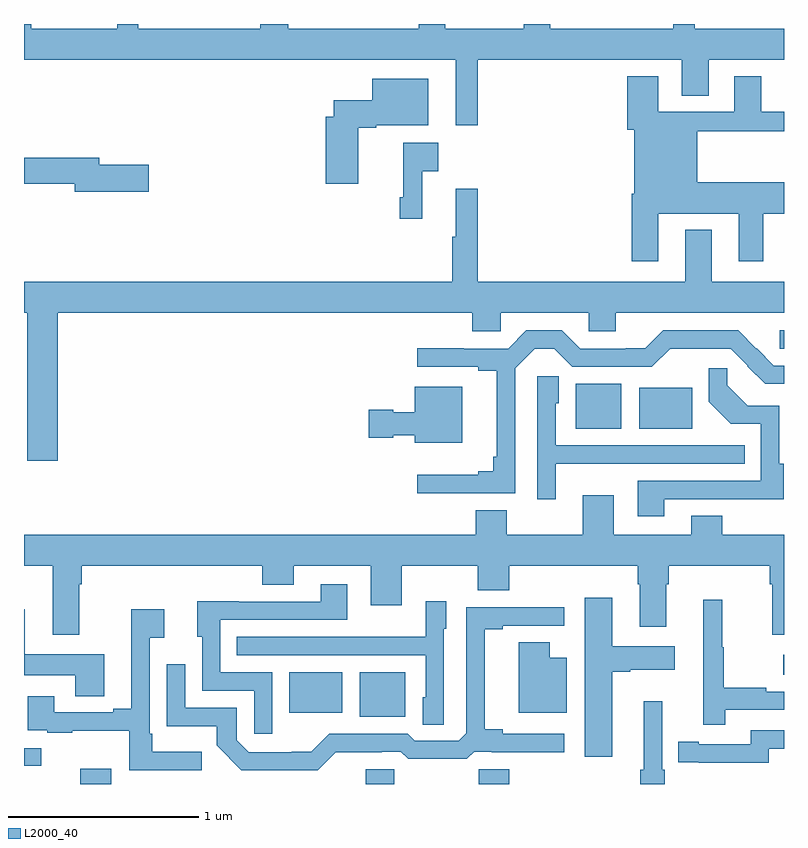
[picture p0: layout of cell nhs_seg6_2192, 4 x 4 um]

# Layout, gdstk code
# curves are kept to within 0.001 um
import gdstk
lib = gdstk.Library(unit=1e-6, precision=1e-09)
def R(c, l, rs):  # rectangles x0, y0, x1, y1
    for r in rs: c.add(gdstk.rectangle(r[:2], r[2:], *l))
def P(c, l, *ps):  # polygons
    for p in ps: c.add(gdstk.Polygon(p, *l))
L2000_40 = (2000, 40)

nhs_seg6_2192 = lib.new_cell('nhs_seg6_2192')
R(nhs_seg6_2192, L2000_40, [(241.295,967.5,241.459,967.579), (242.798,967.5,242.949,967.578), (243.394,967.5,243.554,967.578), (241,967.595,241.09,967.689), (242.768,967.853,243.007,968.089), (242.396,967.874,242.674,968.089), (244.995,968.075,245,968.179), (243.905,969.371,244.144,969.607), (244.238,969.371,244.516,969.586), (244.977,969.792,245,969.888)])
P(nhs_seg6_2192, L2000_40, [(244.417,971.5),(244.417,971.476),(243.769,971.476),(243.769,971.5),(243.629,971.5),(243.629,971.476),(243.217,971.476),(243.217,971.5),(243.077,971.5),(243.077,971.476),(242.391,971.476),(242.391,971.5),(242.243,971.5),(242.243,971.476),(241.6,971.476),(241.6,971.5),(241.49,971.5),(241.49,971.476),(241.037,971.476),(241.037,971.5),(241,971.5),(241,971.312),(243.272,971.312),(243.272,970.968),(243.389,970.968),(243.389,971.312),(244.463,971.312),(244.463,971.122),(244.603,971.122),(244.603,971.312),(245,971.312),(245,971.476),(244.531,971.476),(244.531,971.5)],
  [(244.339,970.502),(244.763,970.502),(244.763,970.251),(244.891,970.251),(244.891,970.502),(245,970.502),(245,970.666),(244.543,970.666),(244.543,970.936),(245,970.936),(245,971.037),(244.879,971.037),(244.879,971.224),(244.739,971.224),(244.739,971.037),(244.339,971.037),(244.339,971.224),(244.175,971.224),(244.175,970.944),(244.211,970.944),(244.211,970.606),(244.199,970.606),(244.199,970.251),(244.339,970.251)],
  [(242.758,970.955),(242.854,970.955),(242.854,970.967),(243.127,970.967),(243.127,971.212),(242.834,971.212),(242.834,971.098),(242.63,971.098),(242.63,971.011),(242.588,971.011),(242.588,970.659),(242.758,970.659)],
  [(243.095,970.724),(243.181,970.724),(243.181,970.876),(242.995,970.876),(242.995,970.588),(242.977,970.588),(242.977,970.476),(243.095,970.476)],
  [(241.657,970.76),(241.396,970.76),(241.396,970.796),(241,970.796),(241,970.66),(241.268,970.66),(241.268,970.618),(241.657,970.618)],
  [(241.178,969.98),(243.359,969.98),(243.359,969.882),(243.51,969.882),(243.51,969.98),(243.972,969.98),(243.972,969.882),(244.114,969.882),(244.114,969.98),(245,969.98),(245,970.144),(244.621,970.144),(244.621,970.417),(244.481,970.417),(244.481,970.144),(243.389,970.144),(243.389,970.633),(243.272,970.633),(243.272,970.38),(243.253,970.38),(243.253,970.144),(241,970.144),(241,969.98),(241.018,969.98),(241.018,969.201),(241.178,969.201)],
  [(243.281,969.03),(243.585,969.03),(243.585,969.687),(243.689,969.791),(243.79,969.791),(243.885,969.696),(244.305,969.696),(244.4,969.791),(244.719,969.792),(244.809,969.702),(244.807,969.7),(244.901,969.606),(245,969.606),(245,969.702),(244.947,969.702),(244.759,969.888),(244.365,969.888),(244.271,969.794),(244.166,969.794),(244.166,969.792),(243.927,969.792),(243.831,969.888),(243.644,969.888),(243.548,969.792),(243.315,969.792),(243.315,969.794),(243.069,969.794),(243.069,969.696),(243.392,969.696),(243.392,969.676),(243.488,969.676),(243.488,969.223),(243.469,969.223),(243.469,969.146),(243.392,969.146),(243.392,969.127),(243.069,969.127),(243.069,969.029)],
  [(244.369,969),(244.999,968.999),(244.999,969.186),(244.974,969.186),(244.974,969.492),(244.808,969.492),(244.7,969.6),(244.7,969.688),(244.605,969.688),(244.605,969.512),(244.721,969.396),(244.878,969.396),(244.878,969.096),(244.229,969.096),(244.229,968.91),(244.369,968.91)],
  [(243.799,969.185),(244.133,969.185),(244.133,969.186),(244.793,969.186),(244.793,969.282),(243.798,969.282),(243.798,969.504),(243.814,969.504),(243.814,969.647),(243.702,969.647),(243.702,969),(243.799,969)],
  [(243.307,969.592),(243.056,969.592),(243.056,969.457),(242.943,969.457),(242.943,969.47),(242.814,969.47),(242.814,969.323),(242.943,969.323),(242.943,969.335),(243.056,969.335),(243.056,969.296),(243.307,969.296)],
  [(241,968.648),(241.151,968.648),(241.151,968.286),(241.291,968.286),(241.291,968.552),(241.304,968.552),(241.304,968.648),(242.255,968.648),(242.255,968.549),(242.419,968.549),(242.419,968.648),(242.825,968.648),(242.825,968.442),(242.989,968.442),(242.989,968.648),(243.389,968.648),(243.389,968.52),(243.553,968.52),(243.553,968.648),(244.229,968.648),(244.229,968.552),(244.241,968.552),(244.241,968.328),(244.381,968.328),(244.381,968.552),(244.394,968.552),(244.394,968.648),(244.925,968.648),(244.925,968.552),(244.937,968.552),(244.937,968.286),(245,968.286),(245,968.812),(244.675,968.812),(244.675,968.911),(244.511,968.911),(244.511,968.812),(244.105,968.812),(244.105,969.019),(243.941,969.019),(243.941,968.812),(243.541,968.812),(243.541,968.941),(243.377,968.941),(243.377,968.812),(241,968.812)],
  [(242.307,968.088),(242.034,968.088),(242.034,968.364),(242.701,968.364),(242.701,968.551),(242.561,968.551),(242.561,968.46),(242.131,968.46),(242.131,968.462),(241.913,968.462),(241.913,968.274),(241.938,968.274),(241.938,967.992),(242.211,967.992),(242.211,967.764),(242.307,967.764)],
  [(244.096,968.09),(244.192,968.09),(244.192,968.102),(244.426,968.102),(244.426,968.224),(244.096,968.224),(244.096,968.479),(243.95,968.479),(243.95,967.644),(244.096,967.644)],
  [(244.691,967.89),(245,967.89),(245,967.986),(244.907,967.986),(244.907,968.006),(244.684,968.006),(244.684,968.22),(244.676,968.22),(244.676,968.47),(244.574,968.47),(244.574,967.812),(244.691,967.812)],
  [(243.21,968.316),(243.223,968.316),(243.223,968.461),(243.114,968.461),(243.114,968.275),(242.797,968.275),(242.797,968.274),(242.119,968.274),(242.119,968.178),(243.114,968.178),(243.114,967.956),(243.098,967.956),(243.098,967.813),(243.21,967.813)],
  [(242.642,967.667),(242.882,967.667),(242.882,967.671),(242.982,967.671),(243.022,967.632),(243.329,967.632),(243.369,967.671),(243.463,967.671),(243.463,967.667),(243.844,967.667),(243.844,967.764),(243.52,967.764),(243.52,967.787),(243.425,967.787),(243.425,968.314),(243.52,968.314),(243.52,968.334),(243.844,968.334),(243.844,968.43),(243.327,968.43),(243.327,967.767),(243.288,967.728),(243.057,967.728),(243.021,967.764),(242.607,967.764),(242.513,967.67),(242.408,967.67),(242.408,967.668),(242.184,967.668),(242.121,967.731),(242.121,967.902),(241.848,967.902),(241.848,968.131),(241.752,968.131),(241.752,967.805),(242.014,967.805),(242.014,967.703),(242.144,967.572),(242.547,967.572)],
  [(241.936,967.669),(241.675,967.669),(241.675,967.765),(241.662,967.765),(241.662,968.27),(241.738,968.27),(241.738,968.419),(241.565,968.419),(241.565,967.897),(241.469,967.897),(241.469,967.878),(241.159,967.878),(241.159,967.963),(241.019,967.963),(241.019,967.782),(241.123,967.782),(241.123,967.77),(241.255,967.77),(241.255,967.781),(241.554,967.781),(241.554,967.572),(241.936,967.572)],
  [(241.423,968.182),(241.003,968.182),(241.003,968.419),(241,968.419),(241,968.072),(241.271,968.072),(241.271,967.963),(241.423,967.963)],
  [(243.856,968.164),(243.766,968.164),(243.766,968.245),(243.605,968.245),(243.605,967.874),(243.856,967.874)],
  [(244.373,967.576),(244.359,967.576),(244.359,967.936),(244.262,967.936),(244.262,967.576),(244.243,967.576),(244.243,967.5),(244.373,967.5)],
  [(244.92,967.686),(245,967.686),(245,967.782),(244.824,967.782),(244.824,967.71),(244.552,967.71),(244.552,967.723),(244.444,967.723),(244.444,967.614),(244.552,967.614),(244.552,967.613),(244.92,967.613)])

lib.write_gds('nhs_seg6_2192.gds')
